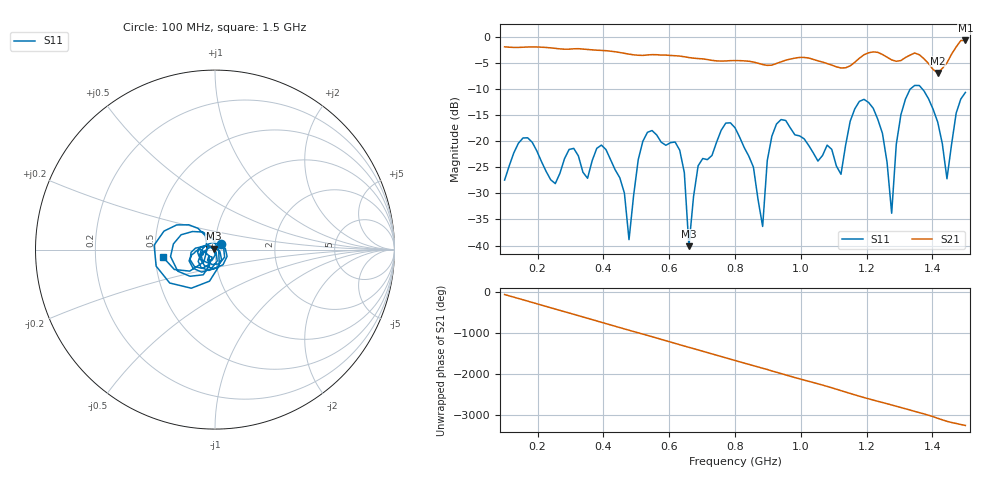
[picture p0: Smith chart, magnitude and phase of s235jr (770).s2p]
! NanoVNA-App
! Date: 2025-09-25 15:10:10
! Start: 100MHz Stop: 1,5GHz Points: 101
! S-Parameter data: F S11 S21 S12 S22
# Hz S RI R 50
!  Frequency  S11_Real  S11_Imag  S21_Real  S21_Imag  S12_Real  S12_Imag  S22_Real  S22_Imag
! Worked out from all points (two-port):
!   101 points, 100 MHz to 1.5 GHz, reference 50 ohm
!   highest |S21| = -0.75 dB at 1.5 GHz (marker M1); lowest = -7.0 dB at 1.416 GHz (marker M2)
!   |S21| within 3 dB of the highest: start of sweep to 633 MHz; 1.186 GHz to 1.256 GHz (70.06 MHz wide, 5.74 % of centre) (the widest 2 of 4)
!   lowest |S11| = -40.1 dB at 660 MHz (marker M3), VSWR 1.02, Z = 49.2 + j0.563 ohm
!   |S11| at or under -10 dB: start of sweep to 1.333 GHz; 1.369 GHz to end of sweep
!   S12 and S22 are empty: the file has one direction only
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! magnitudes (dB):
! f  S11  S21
! 100 MHz  -27.5  -2.0
! 156 MHz  -19.4  -2.0
! 338 MHz  -26.0  -2.4
! 408 MHz  -21.6  -2.7
! 478 MHz  -38.9  -3.4
! 520 MHz  -20.0  -3.6
! 576 MHz  -20.2  -3.5
! 632 MHz  -21.7  -3.7
! 660 MHz  -40.1  -4.0
! 688 MHz  -24.7  -4.2
! 800 MHz  -17.5  -4.6
! 884 MHz  -36.3  -5.4
! 926 MHz  -16.7  -5.1
! 1.038 GHz  -22.3  -4.4
! 1.122 GHz  -26.4  -6.0
! 1.206 GHz  -12.6  -3.1
! 1.276 GHz  -33.8  -4.5
! 1.29 GHz  -20.6  -4.7
! 1.332 GHz  -10.1  -3.6
! 1.416 GHz  -16.4  -7.0
! 1.444 GHz  -27.2  -5.0
! 1.5 GHz  -10.7  -0.7
